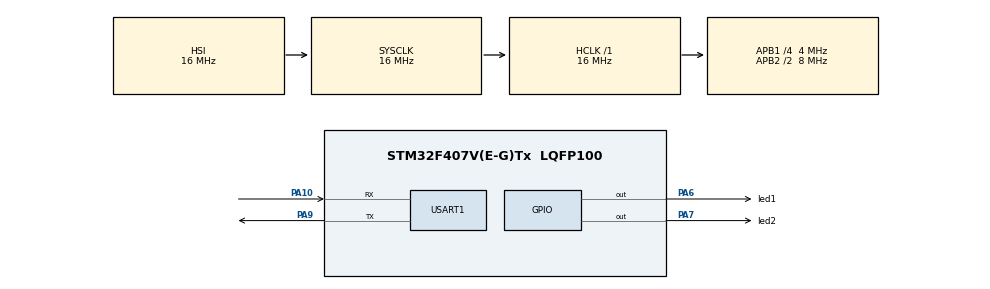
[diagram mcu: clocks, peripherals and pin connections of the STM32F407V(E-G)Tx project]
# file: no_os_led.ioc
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Mcu.Family=STM32F4
Mcu.Name=STM32F407V(E-G)Tx
Mcu.Package=LQFP100
NVIC.PriorityGroup=NVIC_PRIORITYGROUP_4
PA10.Mode=Asynchronous
PA10.Signal=USART1_RX
PA13.Mode=Trace_Asynchronous_SW
PA13.Signal=SYS_JTMS-SWDIO
PA14.Mode=Trace_Asynchronous_SW
PA14.Signal=SYS_JTCK-SWCLK
PA6.GPIO_Label=led1
PA6.Signal=GPIO_Output
PA7.GPIO_Label=led2
PA7.Signal=GPIO_Output
PA9.Mode=Asynchronous
PA9.Signal=USART1_TX
PB3.Mode=Trace_Asynchronous_SW
PB3.Signal=SYS_JTDO-SWO
PC14-OSC32_IN.Mode=LSE-External-Oscillator
PC14-OSC32_IN.Signal=RCC_OSC32_IN
PC15-OSC32_OUT.Mode=LSE-External-Oscillator
PC15-OSC32_OUT.Signal=RCC_OSC32_OUT
PH0-OSC_IN.Mode=HSE-External-Oscillator
PH0-OSC_IN.Signal=RCC_OSC_IN
PH1-OSC_OUT.Mode=HSE-External-Oscillator
PH1-OSC_OUT.Signal=RCC_OSC_OUT
ProjectManager.HeapSize=0x200
ProjectManager.StackSize=0x400
ProjectManager.TargetToolchain=STM32CubeIDE
RCC.48MHZClocksFreq_Value=168000000
RCC.AHBFreq_Value=16000000
RCC.APB1CLKDivider=RCC_HCLK_DIV4
RCC.APB1Freq_Value=4000000
RCC.APB1TimFreq_Value=8000000
RCC.APB2CLKDivider=RCC_HCLK_DIV2
RCC.APB2Freq_Value=8000000
RCC.APB2TimFreq_Value=16000000
RCC.CortexFreq_Value=16000000
RCC.HCLKFreq_Value=16000000
RCC.HSE_VALUE=8000000
RCC.HSI_VALUE=16000000
RCC.PLLM=4
RCC.PLLN=336
RCC.PLLSourceVirtual=RCC_PLLSOURCE_HSE
RCC.SYSCLKFreq_VALUE=16000000
RCC.VCOOutputFreq_Value=672000000
USART1.VirtualMode=VM_ASYNC
board=custom

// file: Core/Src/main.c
/* USER CODE BEGIN Header */
/**
 ******************************************************************************
 * @file           : main.c
 * @brief          : Main program body
 ******************************************************************************
 * @attention
 *
 * <h2><center>&copy; Copyright (c) 2021 STMicroelectronics.
 * All rights reserved.</center></h2>
 *
 * This software component is licensed by ST under BSD 3-Clause license,
 * the "License"; You may not use this file except in compliance with the
 * License. You may obtain a copy of the License at:
 *                        opensource.org/licenses/BSD-3-Clause
 *
 ******************************************************************************
 */
/* USER CODE END Header */
#include "main.h"
#include "usart.h"
#include "gpio.h"

/* USER CODE BEGIN Includes */
#include <stdio.h>
#include <string.h>
/* USER CODE END Includes */

void SystemClock_Config(void);

int main(void) {

	/* MCU Configuration--------------------------------------------------------*/

	/* Reset of all peripherals, Initializes the Flash interface and the Systick. */
	HAL_Init();

	/* Configure the system clock */
	SystemClock_Config();

	/* Initialize all configured peripherals */
	MX_GPIO_Init();
	MX_USART1_UART_Init();
	/* USER CODE BEGIN 2 */
	char arr[5];
	int times = 1;
	/* USER CODE END 2 */

	/* Infinite loop */
	/* USER CODE BEGIN WHILE */
	while (1) {
		memset(arr, 0, 5);
		switch (times % 5) {
		case 1:
			HAL_GPIO_WritePin(GPIOA, led1_Pin, GPIO_PIN_RESET);
			HAL_GPIO_WritePin(GPIOA, led2_Pin, GPIO_PIN_SET);
			break;
		case 2:
			HAL_GPIO_WritePin(GPIOA, led1_Pin, GPIO_PIN_SET);
			HAL_GPIO_WritePin(GPIOA, led2_Pin, GPIO_PIN_RESET);
			break;
		case 4:
			HAL_GPIO_WritePin(GPIOA, led1_Pin | led2_Pin, GPIO_PIN_RESET);
			break;
		default:
			HAL_GPIO_WritePin(GPIOA, led1_Pin | led2_Pin, GPIO_PIN_SET);
		}
		times++;
//	  HAL_GPIO_TogglePin(GPIOA, led1_Pin);
//	  HAL_GPIO_TogglePin(GPIOA, led2_Pin);
		if (HAL_GPIO_ReadPin(GPIOA, led1_Pin) == GPIO_PIN_RESET) {
			strcat(arr, "D1");
		}
		if (HAL_GPIO_ReadPin(GPIOA, led2_Pin) == GPIO_PIN_RESET) {
			strcat(arr, "D2");
		}
		int arrLen = strlen(arr);
		if (arrLen == 0) {
			strcpy(arr, "no D");
			arrLen = 4;
		}
		HAL_UART_Transmit(&huart1, (uint8_t*) arr, arrLen, 0xffff);
		HAL_Delay(800);

		/* USER CODE END WHILE */

	}
}

void SystemClock_Config(void) {
	RCC_OscInitTypeDef RCC_OscInitStruct = { 0 };
	RCC_ClkInitTypeDef RCC_ClkInitStruct = { 0 };

	/** Configure the main internal regulator output voltage
	 */
	__HAL_RCC_PWR_CLK_ENABLE();
	__HAL_PWR_VOLTAGESCALING_CONFIG(PWR_REGULATOR_VOLTAGE_SCALE1);
	/** Initializes the RCC Oscillators according to the specified parameters
	 * in the RCC_OscInitTypeDef structure.
	 */
	RCC_OscInitStruct.OscillatorType = RCC_OSCILLATORTYPE_HSI;
	RCC_OscInitStruct.HSIState = RCC_HSI_ON;
	RCC_OscInitStruct.HSICalibrationValue = RCC_HSICALIBRATION_DEFAULT;
	RCC_OscInitStruct.PLL.PLLState = RCC_PLL_NONE;
	if (HAL_RCC_OscConfig(&RCC_OscInitStruct) != HAL_OK) {
		Error_Handler();
	}
	/** Initializes the CPU, AHB and APB buses clocks
	 */
	RCC_ClkInitStruct.ClockType = RCC_CLOCKTYPE_HCLK | RCC_CLOCKTYPE_SYSCLK
			| RCC_CLOCKTYPE_PCLK1 | RCC_CLOCKTYPE_PCLK2;
	RCC_ClkInitStruct.SYSCLKSource = RCC_SYSCLKSOURCE_HSI;
	RCC_ClkInitStruct.AHBCLKDivider = RCC_SYSCLK_DIV1;
	RCC_ClkInitStruct.APB1CLKDivider = RCC_HCLK_DIV4;
	RCC_ClkInitStruct.APB2CLKDivider = RCC_HCLK_DIV2;

	if (HAL_RCC_ClockConfig(&RCC_ClkInitStruct, FLASH_LATENCY_0) != HAL_OK) {
		Error_Handler();
	}
}

void Error_Handler(void) {
	__disable_irq();
	while (1) {
	}
}

/************************ (C) COPYRIGHT STMicroelectronics *****END OF FILE****/
